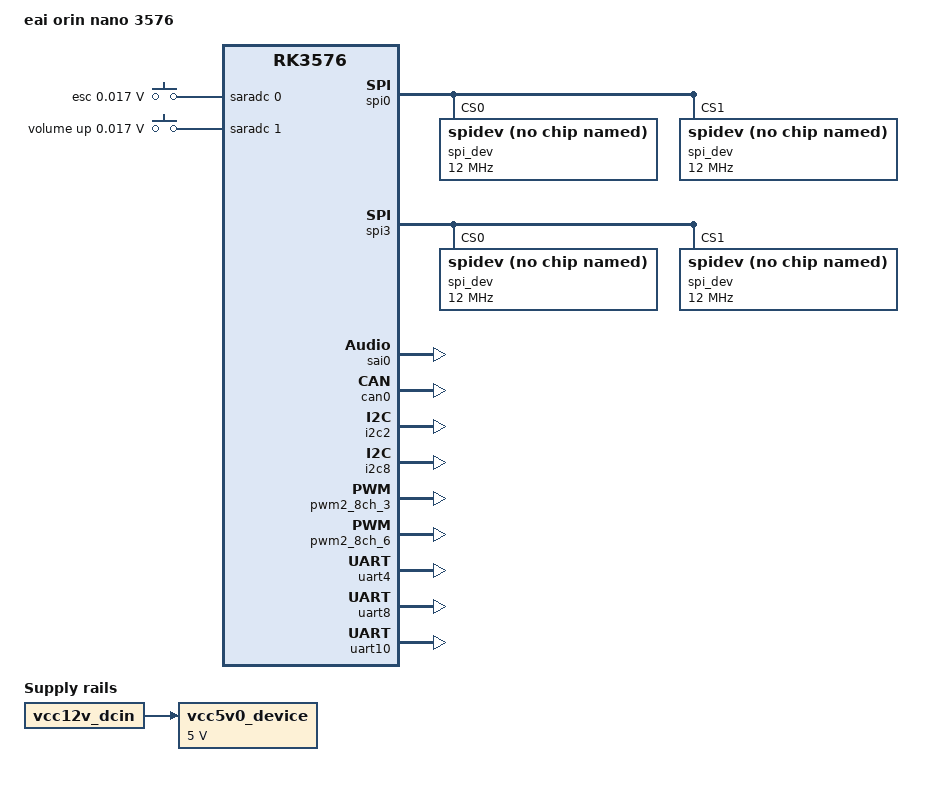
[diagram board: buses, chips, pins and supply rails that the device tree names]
// SPDX-License-Identifier: (GPL-2.0+ OR MIT)
/*
 * Guangzhou Easy EAI Technology Co., Ltd.
 *
 */

/dts-v1/;

#include "rk3576-eai-core-t.dtsi"
#include "rk3576-orin-nano-dsi-lmo8inch.dtsi"
#include "rk3576-orin-nano-hdmi.dtsi"
#include "rk3576-orin-nano-csi0-imx415.dtsi"
#include "rk3576-orin-nano-csi1-imx415.dtsi"
#include "rk3576-orin-nano-typec0.dtsi"
#include "rk3576-orin-nano-typec1.dtsi"
#include "rk3576-orin-nano-gmac0.dtsi"
#include "rk3576-orin-nano-gmac1.dtsi"
#include "rk3576-orin-nano-pcie20.dtsi"
#include "rk3576-orin-nano-sdio-nledb37-g5nn4.dtsi"
#include "rk3576-orin-nano-sai1-es8388.dtsi"
#include "rk3576-orin-nano-sdmmc.dtsi"
#include "rk3576-orin-nano-gpio-wdt.dtsi"
#include "rk3576-orin-nano-i2c2-pcf85063.dtsi"

/ {
	model = "eai orin nano 3576";
	compatible = "eai,orin-nano-3576", "rockchip,rk3576";
	
	vcc5v0_device: vcc5v0-device {
		compatible = "regulator-fixed";
		regulator-name = "vcc5v0_device";
		regulator-always-on;
		regulator-boot-on;
		regulator-min-microvolt = <5000000>;
		regulator-max-microvolt = <5000000>;
		vin-supply = <&vcc12v_dcin>;
		//enable-active-high;
		//gpio = <&gpio1 RK_PD3 GPIO_ACTIVE_HIGH>;
	};

	adc_keys0: adc-keys0 {
		compatible = "adc-keys";
		io-channels = <&saradc 0>;
		io-channel-names = "buttons";
		keyup-threshold-microvolt = <1800000>;
		poll-interval = <100>;

		vol-up-key {
			label = "esc";
			linux,code = <KEY_ESC>;
			press-threshold-microvolt = <17000>;
		};
	};

	adc_keys: adc-keys {
		compatible = "adc-keys";
		io-channels = <&saradc 1>;
		io-channel-names = "buttons";
		keyup-threshold-microvolt = <1800000>;
		poll-interval = <100>;

		vol-up-key {
			label = "volume up";
			linux,code = <KEY_VOLUMEUP>;
			press-threshold-microvolt = <17000>;
		};
	};

};



&spi0 {
	status = "okay";
	pinctrl-names = "default";
	pinctrl-0 = <&spi0m0_pins &spi0m0_csn0 &spi0m0_csn1>;

	spi_dev@0 {
		compatible = "rockchip,spidev";
		reg = <0>;
		spi-max-frequency = <12000000>;
		spi-lsb-first;
	};

	spi_dev@1 {
		compatible = "rockchip,spidev";
		reg = <1>;
		spi-max-frequency = <12000000>;
		spi-lsb-first;
	};
};

&spi3 {
	status = "okay";
	pinctrl-names = "default";
	pinctrl-0 = <&spi3m0_pins &spi3m0_csn0 &spi3m0_csn1>;

	spi_dev@0 {
		compatible = "rockchip,spidev";
		reg = <0>;
		spi-max-frequency = <12000000>;
		spi-lsb-first;
	};

	spi_dev@1 {
		compatible = "rockchip,spidev";
		reg = <1>;
		spi-max-frequency = <12000000>;
		spi-lsb-first;
	};
};

&sai0 {
	status = "okay";
	pinctrl-names = "default";
	pinctrl-0 = <&sai0m0_lrck
		     &sai0m0_sclk
		     &sai0m0_sdi0
		     &sai0m0_sdo2>;
};

&can0 {
	pinctrl-names = "default";
	pinctrl-0 = <&can0m2_pins>;
	status = "okay";
};

&i2c2 {
	pinctrl-names = "default";
	pinctrl-0 = <&i2c2m0_xfer>;
	status = "okay";
};

&i2c8 {
	pinctrl-names = "default";
	pinctrl-0 = <&i2c8m1_xfer>;
	status = "okay";
};

&pwm2_8ch_3 {
	pinctrl-0 = <&pwm2m1_ch3>;
	assigned-clocks = <&cru CLK_PWM2>;
	assigned-clock-rates = <100000000>;
	status = "okay";
};

&pwm2_8ch_6 {
	pinctrl-0 = <&pwm2m0_ch6>;
	assigned-clocks = <&cru CLK_PWM2>;
	assigned-clock-rates = <100000000>;
	status = "okay";
};

// Raspberry
&uart4 {
	pinctrl-names = "default";
	pinctrl-0 = <&uart4m2_xfer>;
	status = "okay";
};

&uart8 {
	pinctrl-names = "default";
	pinctrl-0 = <&uart8m1_xfer>;
	status = "okay";
};

// Other 
&uart10 {
	pinctrl-names = "default";
	pinctrl-0 = <&uart10m1_xfer>;
	status = "okay";
};

